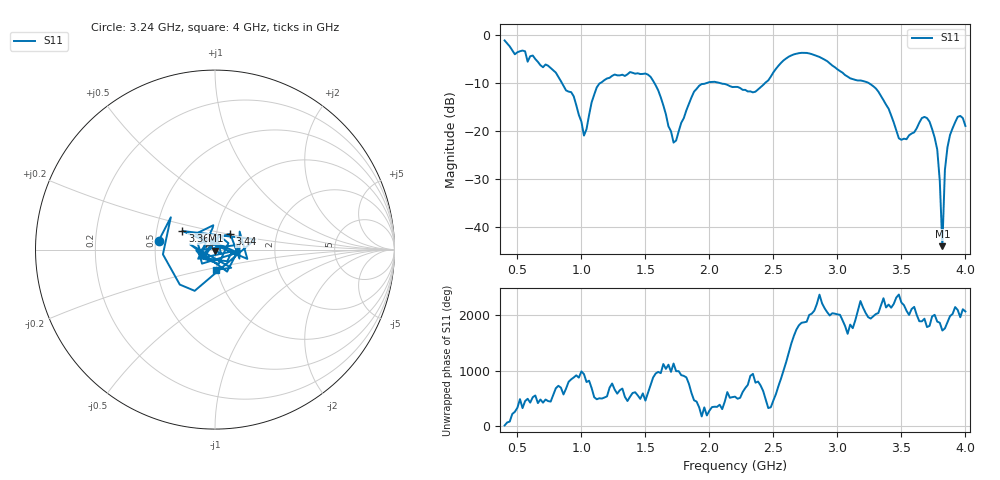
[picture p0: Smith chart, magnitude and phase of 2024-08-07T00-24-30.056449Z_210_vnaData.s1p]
!Created with skrf (http://scikit-rf.org).
# Hz S RI R 50.0
!freq ReS11 ImS11
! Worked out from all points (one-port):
!   181 points, 400 MHz to 4 GHz, reference 50 ohm
!   lowest |S11| = -44.0 dB at 3.82 GHz (marker M1), VSWR 1.01, Z = 50.2 - j0.603 ohm
!   |S11| at or under -10 dB: 1.569 GHz to 1.985 GHz (415.7 MHz wide, 23.4 % of centre); 2.075 GHz to 2.437 GHz (361.8 MHz wide, 16 % of centre); 3.241 GHz to end of sweep (the widest 3 of 4)
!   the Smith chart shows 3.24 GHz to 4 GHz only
!   S11 on the Smith chart (normalised r, x): 3.24 GHz: 0.52, +0.06; 3.36 GHz: 0.68, +0.15; 3.44 GHz: 1.17, +0.21; 4 GHz: 0.98, -0.22
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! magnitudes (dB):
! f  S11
! 400 MHz  -1.2
! 860 MHz  -10.6
! 940 MHz  -12.8
! 1.02 GHz  -21.0
! 1.12 GHz  -11.0
! 1.3 GHz  -8.5
! 1.54 GHz  -8.7
! 1.72 GHz  -22.4
! 1.76 GHz  -20.1
! 1.92 GHz  -10.6
! 2.2 GHz  -10.9
! 2.36 GHz  -11.8
! 2.66 GHz  -4.1
! 3.1 GHz  -9.1
! 3.24 GHz  -10.0
! 3.36 GHz  -13.6
! 3.44 GHz  -18.2
! 3.48 GHz  -21.5
! 3.56 GHz  -20.9
! 3.68 GHz  -17.1
! 3.74 GHz  -19.6
! 3.78 GHz  -23.9
! 3.8 GHz  -30.4
! 3.82 GHz  -44.0
! 3.84 GHz  -28.1
! 3.86 GHz  -23.4
! 3.94 GHz  -17.1
! 4 GHz  -19.0
